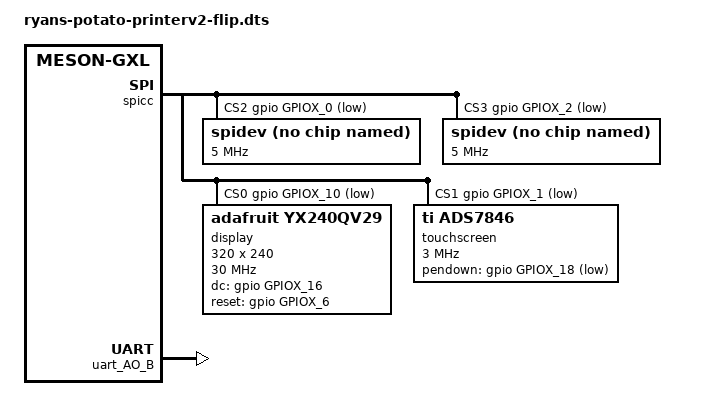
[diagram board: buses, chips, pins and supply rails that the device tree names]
/*
	Ryan's 3d Printer Le-Potato Overlay
	Enables 4 CS Pins for SPI on pins 33 (CS0), 35 (CS1), 38 (CS2), 40 (CS3)
	One for LCD Screen, One for Touch Interface, One for Bed, and hotend accelerometer each. 
*/

/dts-v1/;
/plugin/;
 

#include <dt-bindings/gpio/gpio.h>
#include <dt-bindings/gpio/meson-gxl-gpio.h>
#include <dt-bindings/interrupt-controller/irq.h>
#include <dt-bindings/interrupt-controller/amlogic,meson-gxl-gpio-intc.h>
/ {
	compatible = "libretech,cc", "amlogic,s905x", "amlogic,meson-gxl";

	fragment@0 {
		target-path = "/aliases";

		__overlay__ {
			spi0 = "/soc/cbus@c1100000/spi@8d80";
		};
	};

	fragment@1 {
		target = <&spicc>;
		
		__overlay__ {
			status = "okay";
			pinctrl-0 = <&spi_pins>;
			pinctrl-1 = <&spi_pins>, <&spi_idle_high_pins>;
			pinctrl-2 = <&spi_pins>, <&spi_idle_low_pins>;
			pinctrl-names = "default", "idle-high", "idle-low";

			cs-gpios = <&gpio GPIOX_10 GPIO_ACTIVE_LOW>, <&gpio GPIOX_1 GPIO_ACTIVE_LOW>,<&gpio GPIOX_0 GPIO_ACTIVE_LOW>, <&gpio GPIOX_2 GPIO_ACTIVE_LOW>;
		};
	};
    fragment@2 {
		target = <&spicc>;
		
		__overlay__ {
			spidev@2 {
				compatible = "rohm,dh2228fv";
				reg = <2>;
				spi-max-frequency = <5000000>;
				spi-mode = <3>; /* Set SPI mode to 2 */
			};
			spidev@3 {
				compatible = "rohm,dh2228fv";
				reg = <3>;
				spi-max-frequency = <5000000>;
				spi-mode = <3>; /* Set SPI mode to 2 */
			};
		};
	};
    fragment@3 {
		target = <&spicc>;
		
		__overlay__ {
			/*
			 * - D/C to Pin29 (GPIOX_17)
			 * - RESET to Pin31 (GPIOX_18)
			 * - (LCD) CS to Pin33 (GPIOX_6) (CS0)
			 */
			display@0 {
				compatible = "adafruit,yx240qv29", "ilitek,ili9341";
				rotation = <90>;
				bgr = <0>;
				fps = <15>;
				height = <240>;
				width = <320>;
				debug = <4>;
				reg = <0>;
				buswidth = <8>;
				spi-max-frequency = <30000000>;
				dc-gpios = <&gpio GPIOX_16 GPIO_ACTIVE_HIGH>;
				reset-gpios = <&gpio GPIOX_6 GPIO_ACTIVE_HIGH>;
				status = "okay";
			};
			
						
		};
	};
    fragment@4 {
		target = <&cec_AO>;
		
		__overlay__ {
			status = "disabled";
		};
	};
    fragment@5 {
		target = <&spicc>;
		
		__overlay__ {

			touchscreen@1 {
				compatible = "ti,ads7846";
				reg = <1>;
				spi-max-frequency = <3000000>;
				interrupt-parent = <&gpio_intc>;
				interrupts = <IRQID_GPIOX_18 IRQ_TYPE_EDGE_FALLING>;
				pendown-gpio = <&gpio GPIOX_18 GPIO_ACTIVE_LOW>;
				ti,x-min = /bits/ 16 <0>;
				ti,y-min = /bits/ 16 <0>;
				ti,x-max = /bits/ 16 <4095>;
				ti,y-max = /bits/ 16 <4095>;
				ti,pressure-min = /bits/ 16 <0>;
				ti,pressure-max = /bits/ 16 <0xFFFF>;
				ti,x-plate-ohms = /bits/ 16 <100>;
				ti,swap-xy = <1>; /* Enable swap_xy */
				wakeup-source;
				status = "okay";
			};
		};
	};
    fragment@6 {
		target-path = "/aliases";

		__overlay__ {
			serial2 = "/soc/bus@c8100000/serial@4e0";
		};
	};
    fragment@7 {
		target = <&uart_AO_B>;

		__overlay__ {
			status = "okay";
			pinctrl-0 = <&uart_ao_b_pins>;
			pinctrl-names = "default";
		};
	};
};
